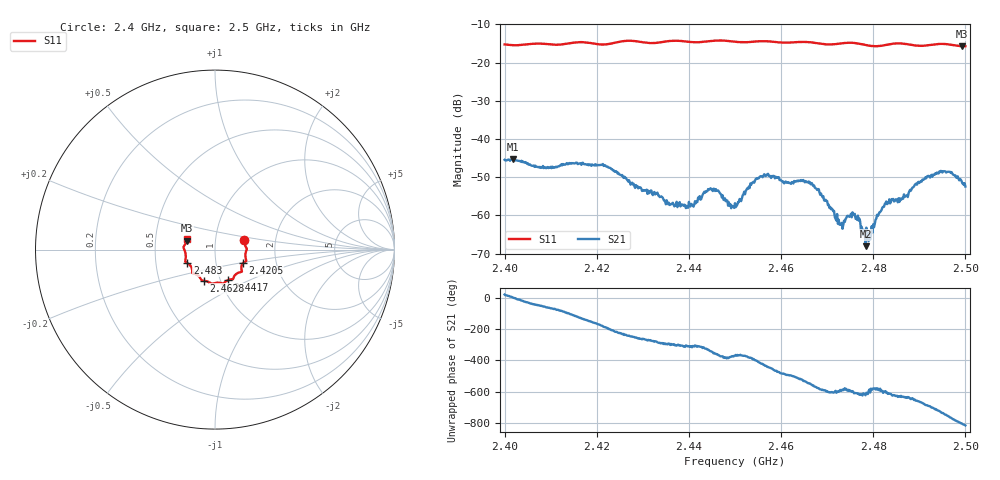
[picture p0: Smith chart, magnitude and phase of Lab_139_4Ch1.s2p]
# Hz S RI R 50
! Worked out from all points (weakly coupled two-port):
!   601 points, 2.4 GHz to 2.5 GHz, reference 50 ohm
!   highest |S21| = -45.28 dB at 2.4018 GHz (marker M1); lowest = -68.0 dB at 2.4783 GHz (marker M2)
!   lowest |S11| = -15.7 dB at 2.4993 GHz (marker M3), VSWR 1.39, Z = 36.3 + j3.67 ohm
!   |S11| at or under -10 dB: start of sweep to end of sweep
!   S12 and S22 are empty: the file has one direction only
!   S11 on the Smith chart (normalised r, x): 2.4 GHz: 1.38, +0.16; 2.4205 GHz: 1.35, -0.21; 2.4417 GHz: 1.09, -0.38; 2.4628 GHz: 0.83, -0.30; 2.483 GHz: 0.73, -0.11; 2.5 GHz: 0.73, +0.09
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2.4e9  0.1637 0.0559  0.00505 0.00176  0 0  0 0
2.401833e9  0.1648 0.0377  0.00545 -3.4e-05  0 0  0 0
2.409e9  0.175 -0.00473  0.00194 -0.00367  0 0  0 0
2.416667e9  0.174 -0.0633  -0.00307 -0.00341  0 0  0 0
2.4205e9  0.1553 -0.0768  -0.00453 -0.000574  0 0  0 0
2.433333e9  0.1073 -0.1477  0.000571 0.00174  0 0  0 0
2.436333e9  0.1012 -0.164  0.000684 0.00125  0 0  0 0
2.441667e9  0.0719 -0.1698  0.00104 0.00109  0 0  0 0
2.445e9  0.0507 -0.1858  0.00214 0.000513  0 0  0 0
2.45e9  0.0288 -0.1853  0.00143 -0.000238  0 0  0 0
2.455833e9  -0.0143 -0.1902  0.00151 -0.00289  0 0  0 0
2.462833e9  -0.0627 -0.1733  -0.00227 -0.00168  0 0  0 0
2.466667e9  -0.0773 -0.1666  -0.00254 0.000748  0 0  0 0
2.472833e9  -0.1169 -0.1338  -0.000501 0.000589  0 0  0 0
2.4755e9  -0.1269 -0.1298  -0.000598 0.000918  0 0  0 0
2.478333e9  -0.1274 -0.1128  -4.56e-05 0.000393  0 0  0 0
2.479333e9  -0.1297 -0.1032  -0.000191 0.000441  0 0  0 0
2.483e9  -0.1543 -0.0752  -0.000587 0.00128  0 0  0 0
2.483333e9  -0.1566 -0.0739  -0.000485 0.00137  0 0  0 0
2.494333e9  -0.1752 0.011  0.00374 -0.000277  0 0  0 0
2.499333e9  -0.156 0.0491  0.000196 -0.00262  0 0  0 0
2.5e9  -0.1537 0.0574  -0.000263 -0.00237  0 0  0 0
